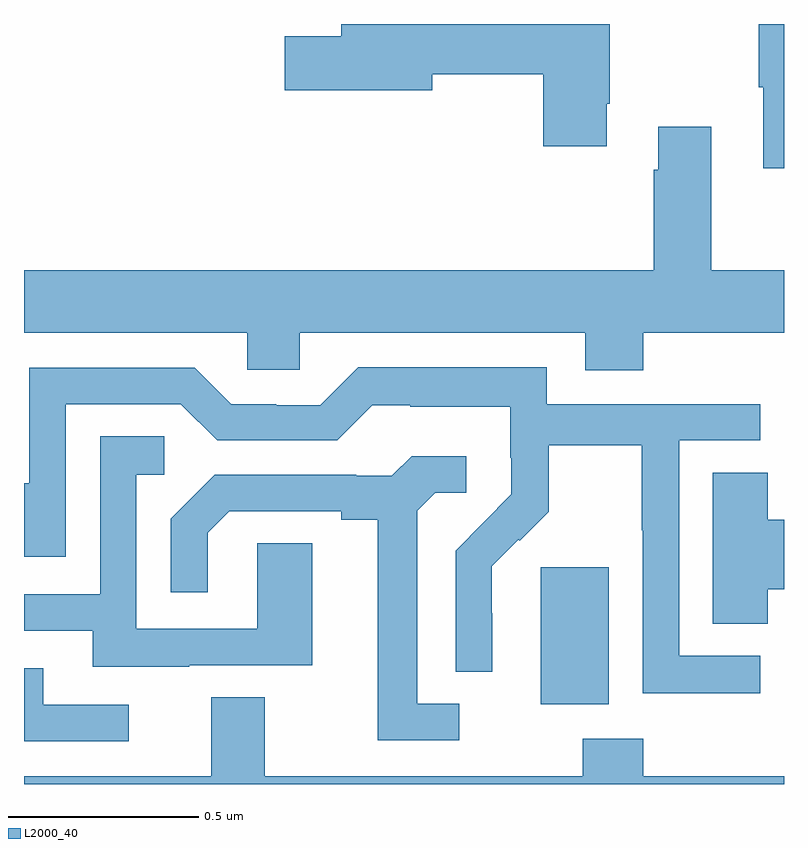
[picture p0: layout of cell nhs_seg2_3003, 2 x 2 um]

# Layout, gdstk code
import gdstk
lib = gdstk.Library(unit=1e-6, precision=1e-09)
def R(c, l, rs):  # rectangles x0, y0, x1, y1
    for r in rs: c.add(gdstk.rectangle(r[:2], r[2:], *l))
def P(c, l, *ps):  # polygons
    for p in ps: c.add(gdstk.Polygon(p, *l))
L2000_40 = (2000, 40)

nhs_seg2_3003 = lib.new_cell('nhs_seg2_3003')
R(nhs_seg2_3003, L2000_40, [(149.36,628.01,149.539,628.371)])
P(nhs_seg2_3003, L2000_40, [(150,629.8),(149.934,629.8),(149.934,629.633),(149.945,629.633),(149.945,629.421),(150,629.421)],
  [(149.533,629.59),(149.541,629.59),(149.541,629.8),(148.835,629.8),(148.835,629.768),(148.686,629.768),(148.686,629.626),(149.074,629.626),(149.074,629.668),(149.366,629.668),(149.366,629.478),(149.533,629.478)],
  [(149.63,628.988),(150,628.988),(150,629.152),(149.809,629.152),(149.809,629.53),(149.669,629.53),(149.669,629.417),(149.657,629.417),(149.657,629.152),(148,629.152),(148,628.988),(148.587,628.988),(148.587,628.89),(148.725,628.89),(148.725,628.988),(149.477,628.988),(149.477,628.889),(149.63,628.889)],
  [(149.938,628.137),(149.724,628.137),(149.724,628.704),(149.938,628.704),(149.938,628.8),(149.376,628.8),(149.376,628.897),(148.879,628.897),(148.779,628.797),(148.664,628.797),(148.664,628.8),(148.545,628.8),(148.449,628.896),(148.014,628.896),(148.014,628.591),(148.001,628.591),(148.001,628.494),(148,628.494),(148,628.398),(148.11,628.398),(148.11,628.8),(148.413,628.8),(148.509,628.704),(148.824,628.704),(148.917,628.797),(149.017,628.797),(149.017,628.793),(149.28,628.793),(149.28,628.659),(149.282,628.659),(149.282,628.562),(149.208,628.488),(149.209,628.487),(149.136,628.414),(149.136,628.096),(149.232,628.096),(149.232,628.25),(149.231,628.25),(149.231,628.373),(149.301,628.443),(149.304,628.44),(149.381,628.517),(149.381,628.692),(149.626,628.692),(149.626,628.468),(149.628,628.468),(149.628,628.039),(149.938,628.039)],
  [(148.435,628.113),(148.759,628.113),(148.759,628.433),(148.614,628.433),(148.614,628.209),(148.296,628.209),(148.296,628.614),(148.369,628.614),(148.369,628.715),(148.2,628.715),(148.2,628.299),(148,628.299),(148,628.203),(148.181,628.203),(148.181,628.109),(148.435,628.109)],
  [(149.146,628.011),(149.035,628.011),(149.035,628.519),(149.082,628.566),(149.164,628.566),(149.164,628.663),(149.02,628.663),(148.968,628.611),(148.874,628.611),(148.874,628.614),(148.502,628.614),(148.386,628.498),(148.386,628.305),(148.483,628.305),(148.483,628.461),(148.54,628.518),(148.835,628.518),(148.835,628.496),(148.931,628.496),(148.931,627.915),(149.146,627.915)],
  [(149.957,628.313),(150,628.313),(150,628.496),(149.957,628.496),(149.957,628.619),(149.813,628.619),(149.813,628.222),(149.957,628.222)],
  [(148.276,628.008),(148.051,628.008),(148.051,628.104),(148,628.104),(148,627.912),(148.276,627.912)],
  [(150,627.82),(149.63,627.82),(149.63,627.919),(149.47,627.919),(149.47,627.82),(148.633,627.82),(148.633,628.028),(148.493,628.028),(148.493,627.82),(148,627.82),(148,627.8),(150,627.8)])

lib.write_gds('nhs_seg2_3003.gds')
